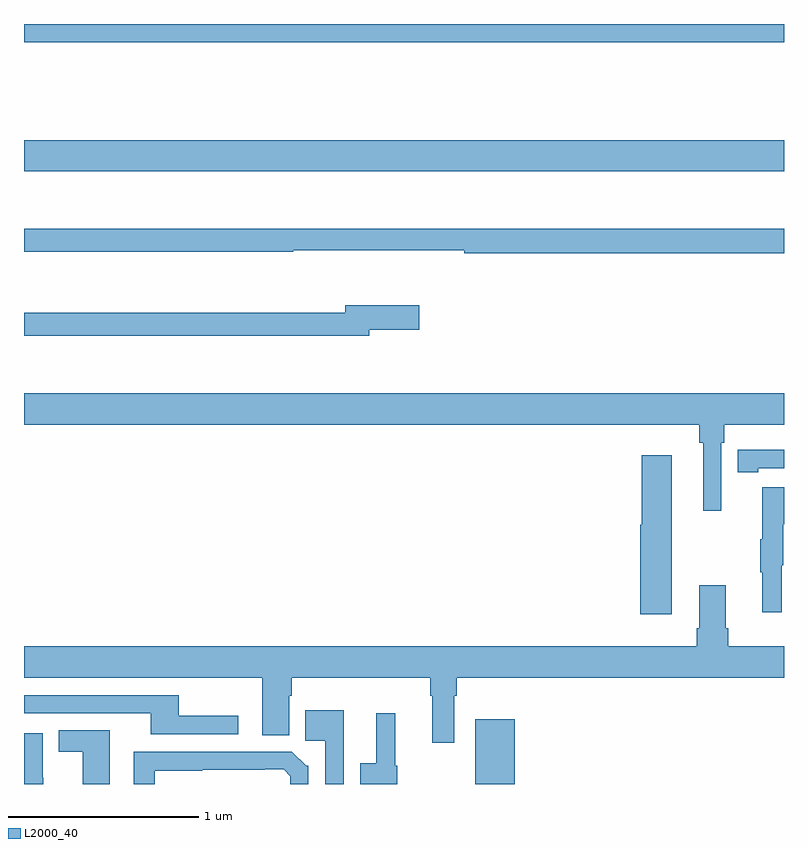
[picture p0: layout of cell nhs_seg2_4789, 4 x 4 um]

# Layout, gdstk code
import gdstk
lib = gdstk.Library(unit=1e-6, precision=1e-09)
def R(c, l, rs):  # rectangles x0, y0, x1, y1
    for r in rs: c.add(gdstk.rectangle(r[:2], r[2:], *l))
def P(c, l, *ps):  # polygons
    for p in ps: c.add(gdstk.Polygon(p, *l))
L2000_40 = (2000, 40)

nhs_seg2_4789 = lib.new_cell('nhs_seg2_4789')
R(nhs_seg2_4789, L2000_40, [(375.374,589.8,375.583,590.14), (373,593.024,377,593.188), (373,593.704,377,593.8)])
P(nhs_seg2_4789, L2000_40, [(377,592.723),(373,592.723),(373,592.602),(374.416,592.602),(374.416,592.609),(375.316,592.609),(375.316,592.594),(377,592.594)],
  [(374.818,592.192),(375.079,592.192),(375.079,592.321),(374.69,592.321),(374.69,592.279),(373,592.279),(373,592.158),(374.818,592.158)],
  [(376.671,591.596),(376.685,591.596),(376.685,591.692),(377,591.692),(377,591.856),(373,591.856),(373,591.692),(376.555,591.692),(376.555,591.596),(376.574,591.596),(376.574,591.237),(376.671,591.237)],
  [(376.864,591.462),(377,591.462),(377,591.559),(376.864,591.559),(376.864,591.558),(376.756,591.558),(376.756,591.442),(376.864,591.442)],
  [(376.408,591.529),(376.25,591.529),(376.25,591.165),(376.244,591.165),(376.244,590.694),(376.408,590.694)],
  [(376.988,590.952),(376.996,590.952),(376.996,591.166),(377,591.166),(377,591.361),(376.886,591.361),(376.886,591.089),(376.875,591.089),(376.875,590.915),(376.886,590.915),(376.886,590.703),(376.988,590.703)],
  [(375.265,590.264),(375.278,590.264),(375.278,590.36),(377,590.36),(377,590.524),(376.706,590.524),(376.706,590.62),(376.693,590.62),(376.693,590.845),(376.553,590.845),(376.553,590.62),(376.541,590.62),(376.541,590.524),(373,590.524),(373,590.36),(374.255,590.36),(374.255,590.056),(374.395,590.056),(374.395,590.264),(374.408,590.264),(374.408,590.36),(375.137,590.36),(375.137,590.264),(375.149,590.264),(375.149,590.016),(375.265,590.016)],
  [(374.128,590.159),(373.815,590.159),(373.815,590.268),(373,590.268),(373,590.172),(373.667,590.172),(373.667,590.061),(374.128,590.061)],
  [(374.682,590.188),(374.48,590.188),(374.48,590.028),(374.586,590.028),(374.586,589.8),(374.682,589.8)],
  [(374.965,589.896),(374.954,589.896),(374.954,590.173),(374.855,590.173),(374.855,589.908),(374.771,589.908),(374.771,589.8),(374.965,589.8)],
  [(373.45,590.083),(373.183,590.083),(373.183,589.969),(373.31,589.969),(373.31,589.8),(373.45,589.8)],
  [(373.1,589.832),(373.098,589.832),(373.098,590.068),(373,590.068),(373,589.929),(373.002,589.929),(373.002,589.8),(373.1,589.8)],
  [(373.687,589.87),(373.937,589.87),(373.937,589.875),(374.267,589.875),(374.267,589.878),(374.366,589.878),(374.402,589.842),(374.402,589.8),(374.496,589.8),(374.496,589.896),(374.485,589.896),(374.41,589.971),(373.578,589.971),(373.578,589.8),(373.687,589.8)])

lib.write_gds('nhs_seg2_4789.gds')
